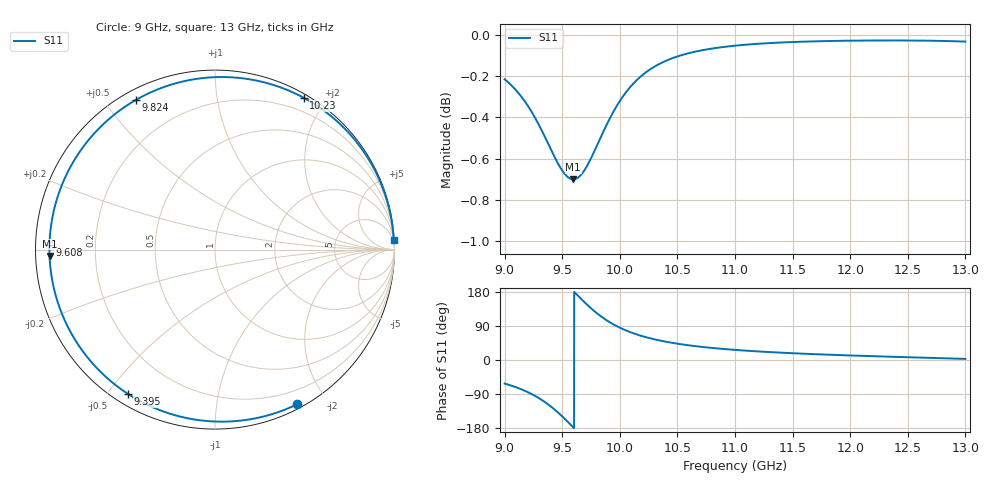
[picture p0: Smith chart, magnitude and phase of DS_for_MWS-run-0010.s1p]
! TOUCHSTONE file generated by CST DESIGN STUDIO
! Date and time: Tue Feb  4 12:45:53 2025
! Project name: C:\Work\MatlabApps\UnitCellOptimizationMatlab\CST\unitcell.cst
! Tree item: Tasks\Sweep1\SPara1\S-Parameters
! Header version: 2024
! Port assignment regex: !\s*Touchstone port\s*([0-9]+)\s*=\s*(CST MWS port|CST DES external port|CST DES block port)\s*(.+)\s* \(\"(.*)\"\)(\s*mode\s*([0-9]+))?.*
! Touchstone port assignment:
! Touchstone port 1 = CST DES external port 1 ("")
# GHz S MA R 50
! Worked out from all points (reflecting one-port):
!   4001 points, 9 GHz to 13 GHz, reference 50 ohm
!   lowest |S11| = -0.7 dB at 9.596 GHz (marker M1), VSWR 24.81, Z = 2.02 - j0.953 ohm
!   phase of S11 starts at -62 deg and turns -295 deg over the sweep
!   S11 on the Smith chart (normalised r, x): 9 GHz: 0.05, -1.66; 9.395 GHz: 0.04, -0.56; 9.608 GHz: 0.04, +0.01; 9.824 GHz: 0.04, +0.60; 10.23 GHz: 0.04, +1.74; 13 GHz: 3, +39
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9  0.9757 -62.2
9.051  0.9728 -66.9
9.122  0.968 -74.5
9.243  0.9572 -91.2
9.324  0.9479 -105.7
9.395  0.9389 -121.1
9.447  0.9326 -134.1
9.5  0.9271 -148.8
9.55  0.9236 -163.6
9.596  0.9225 -177.8
9.608  0.9226 178.5
9.663  0.9248 161.5
9.724  0.9304 143.6
9.774  0.9365 130.2
9.824  0.9431 118.0
9.863  0.9482 109.4
9.905  0.9535 101.1
10  0.9638 85.3
10.111  0.9729 71.2
10.233  0.9797 59.6
10.356  0.9845 50.8
10.5  0.9882 43.0
10.72  0.9917 34.3
11  0.9942 26.7
11.5  0.9962 17.9
12  0.9969 12.0
12.5  0.997 7.3
13  0.9964 2.9
